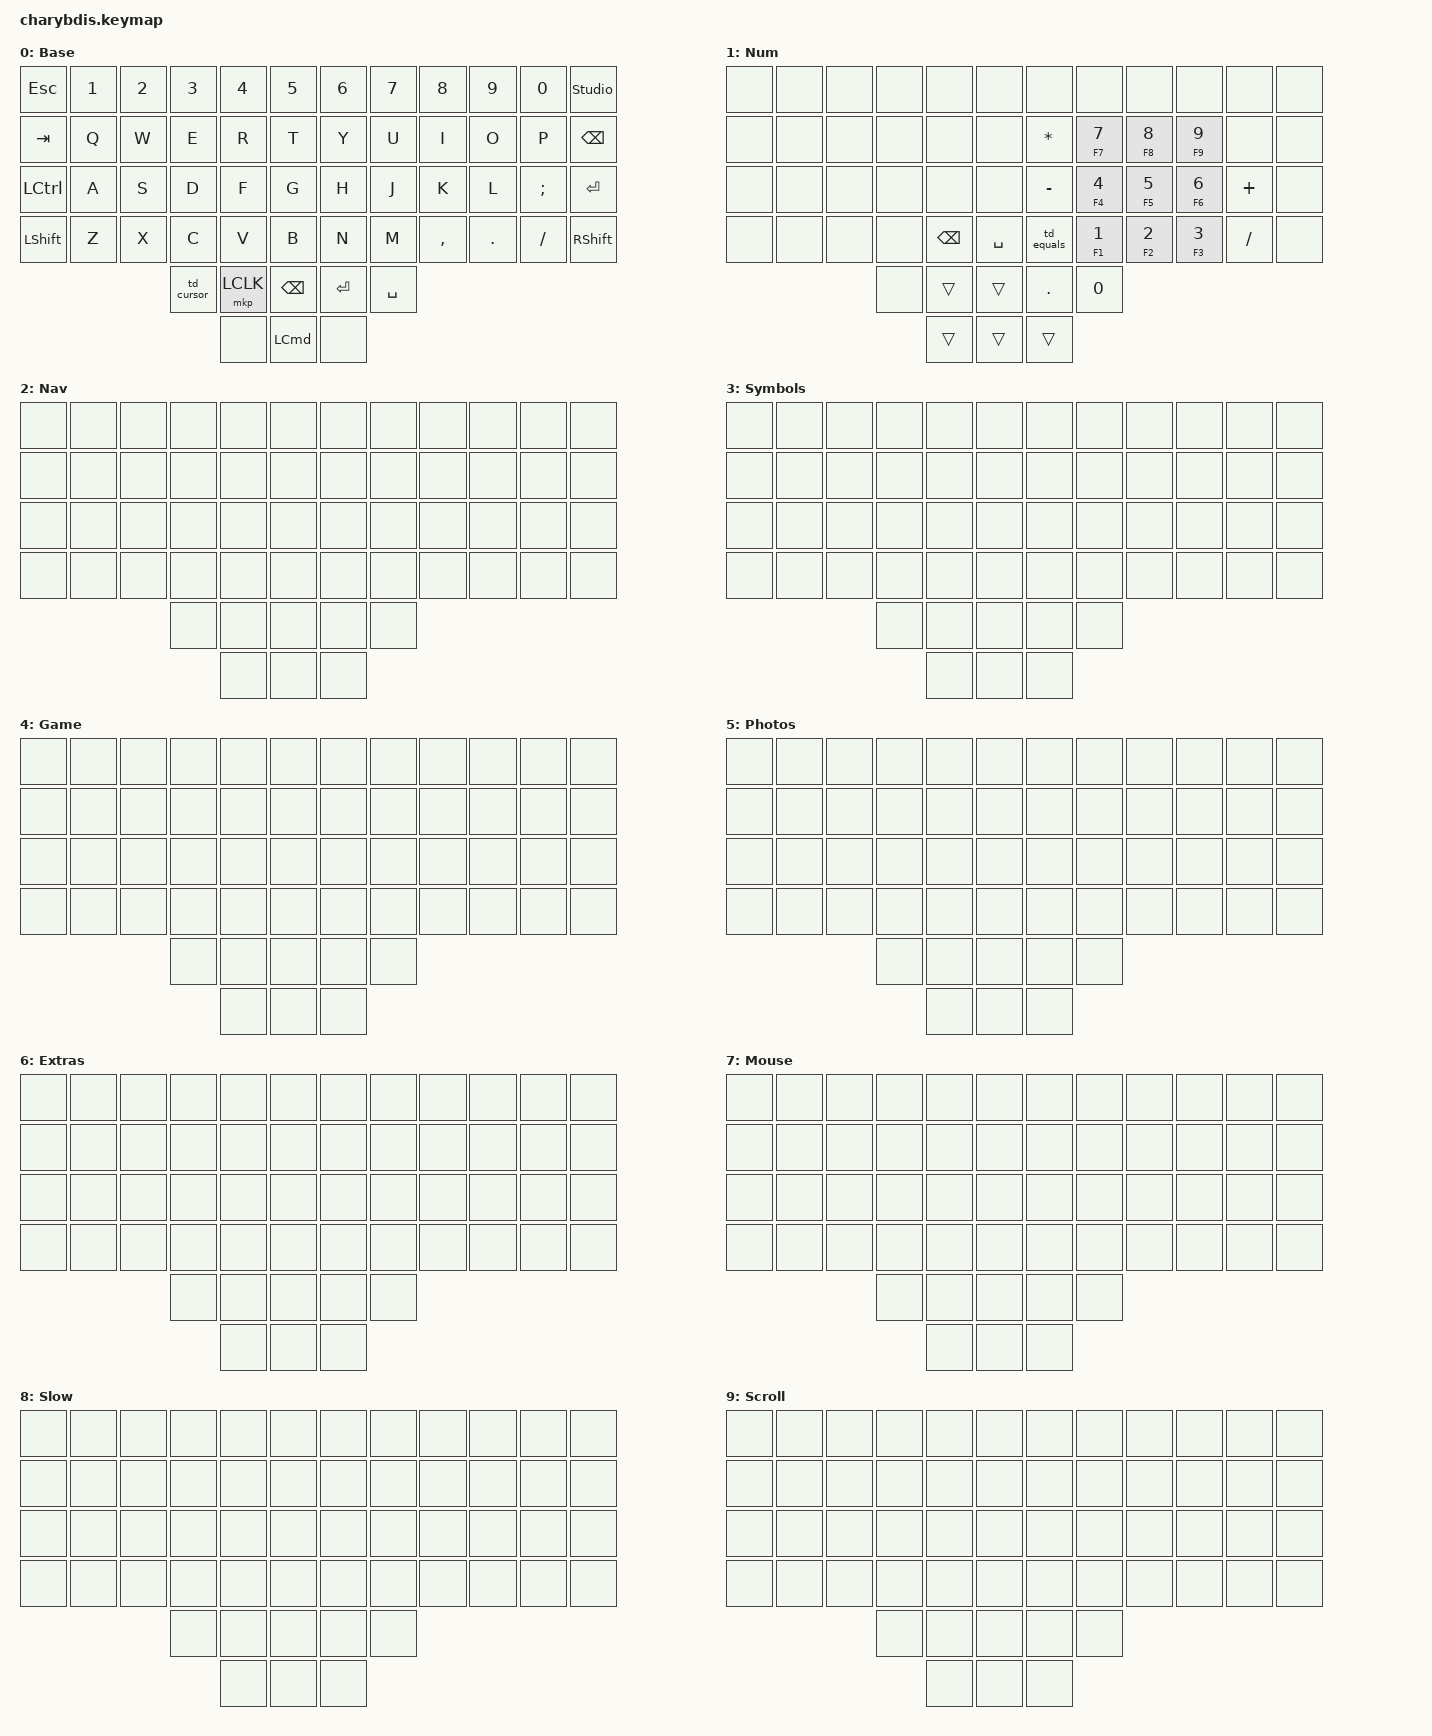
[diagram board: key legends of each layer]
#include <behaviors.dtsi>
#include <dt-bindings/zmk/bt.h>
#include <dt-bindings/zmk/keys.h>
#include <dt-bindings/zmk/mouse.h>
#include <dt-bindings/zmk/outputs.h>
#include <behaviors/mouse_keys.dtsi>
#include <dt-bindings/zmk/ext_power.h>
#include "macros.dtsi"
#include "behaviors.dtsi"
#include "combos.dtsi"

/ {
    /* input config for mouse move mode */
    trackball_listener {
        compatible = "zmk,input-behavior-listener";
        device = <&vtrackball>;
        layers = <0 2 7>;
        evt-type = <INPUT_EV_REL>;
        x-input-code = <INPUT_REL_X>;
        y-input-code = <INPUT_REL_Y>;
        scale-multiplier = <4>;
        scale-divisor = <5>;
        // bindings = <&ib_toggle_layer 7>;
    };

    /* input config for snipe mode */
    trackball_snipe_listener {
        compatible = "zmk,input-behavior-listener";   
        device = <&vtrackball>;
        layers = <8>;
        evt-type = <INPUT_EV_REL>;
        x-input-code = <INPUT_REL_X>;
        y-input-code = <INPUT_REL_Y>;
        scale-multiplier = <1>;
        scale-divisor = <6>;
    };

    /* input config for mouse scroll mode */
    trackball_scroll_listener {
        compatible = "zmk,input-behavior-listener";
        device = <&vtrackball>;
        layers = <9>;
        evt-type = <INPUT_EV_REL>;            
        x-input-code = <INPUT_REL_MISC>;
        y-input-code = <INPUT_REL_WHEEL>;
        y-invert;
        bindings = <&ib_wheel_scaler 1 14>;
    };

    /* define a resolution down scaler only for INPUT_REL_WHEEL */
    ib_wheel_scaler: ib_wheel_scaler {
        compatible = "zmk,input-behavior-scaler";
        #binding-cells = <2>;
        evt-type = <INPUT_EV_REL>;
        input-code = <INPUT_REL_WHEEL>;
    };

    /* adjust cooldown waiting period for mouse key layer after activated */
    ib_toggle_layer: ib_toggle_layer {
        compatible = "zmk,input-behavior-tog-layer";
        #binding-cells = <1>;
        time-to-live-ms = <750>;
    };
// +----+----+----+----+----+----+   +----+----+----+----+----+----+
//   00   01   02   03   04   05       11   10   09   08   07   06
// +----+----+----+----+----+----+   +----+----+----+----+----+----+
//   12   13   14   15   16   17       23   22   21   20   19   18
// +----+----+----+----+----+----+   +----+----+----+----+----+----+
//   24   25   26   27   28   29       35   34   33   32   31   30
// +----+----+----+----+----+----+   +----+----+----+----+----+----+
//   36   37   38   39   40   41       47   46   45   44   43   42
// +----+----+----+----+----+----+   +----+----+----+----+----+----+
//                  48   49   50       52   51
//                +----+----+----+   +----+----+
//                       53   54       55
//                     +----+----+   +----+
// #define BASE    0
// #define NUM     1
// #define NAV     2
// #define SYM     3
// #define GAME    4
// #define PHOTOS  5
// #define EXTRAS  6
// #define MOUSE   7
// #define SLOW    8
// #define SCROLL  9

    keymap {
        compatible = "zmk,keymap";
        BASE {
            display-name = "Base";
            bindings = <
               &kp ESC    &kp N1     &kp N2     &kp N3     &kp N4     &kp N5         &kp N6     &kp N7     &kp N8     &kp N9     &kp N0     &studio_unlock
               &kp TAB    &kp Q      &kp W      &kp E      &kp R      &kp T          &kp Y      &kp U      &kp I      &kp O      &kp P      &kp BSPC
               &kp LCTRL  &kp A      &kp S      &kp D      &kp F      &kp G          &kp H      &kp J      &kp K      &kp L      &kp SEMI   &kp RETURN
               &kp LSHIFT &kp Z      &kp X      &kp C      &kp V      &kp B          &kp N      &kp M      &kp COMMA  &kp PERIOD &kp SLASH  &kp RSHIFT
                                                &td_cursor &mkp LCLK  &kp BSPC       &kp RETURN &kp SPACE
                                                           &none      &kp LCMD       &none
            >;
        };

        NUM {
            display-name = "Num";
            bindings = <
               &none      &none      &none      &none      &none      &none          &none      &none      &none      &none      &none      &none
               &none      &none      &none      &none      &none      &none          &kp ASTRK  &hm F7 N7  &hm F8 N8  &hm F9 N9  &none      &none
               &none      &none      &none      &none      &none      &none          &kp MINUS  &hm F4 N4  &hm F5 N5  &hm F6 N6  &kp PLUS   &none
               &none      &none      &none      &none      &kp BSPC   &kp SPACE      &td_equals &hm F1 N1  &hm F2 N2  &hm F3 N3  &kp SLASH  &none
                                                &none      &trans     &trans         &kp DOT      &kp N0
                                                           &trans     &trans         &trans
            >;
        };

        NAV {
            display-name = "Nav";
            bindings = <
               &none      &none      &none      &none      &none      &none          &none      &none      &none      &none      &none      &none
               &none      &none      &none      &none      &none      &none          &none      &none      &none      &none      &none      &none
               &none      &none      &none      &none      &none      &none          &none      &none      &none      &none      &none      &none
               &none      &none      &none      &none      &none      &none          &none      &none      &none      &none      &none      &none
                                                &none      &none      &none          &none      &none
                                                           &none      &none          &none
            >;
        };

        SYM {
            display-name = "Symbols";
            bindings = <
               &none      &none      &none      &none      &none      &none          &none      &none      &none      &none      &none      &none
               &none      &none      &none      &none      &none      &none          &none      &none      &none      &none      &none      &none
               &none      &none      &none      &none      &none      &none          &none      &none      &none      &none      &none      &none
               &none      &none      &none      &none      &none      &none          &none      &none      &none      &none      &none      &none
                                                &none      &none      &none          &none      &none
                                                           &none      &none          &none
            >;
        };

        GAME {
            display-name = "Game";
            bindings = <
               &none      &none      &none      &none      &none      &none          &none      &none      &none      &none      &none      &none
               &none      &none      &none      &none      &none      &none          &none      &none      &none      &none      &none      &none
               &none      &none      &none      &none      &none      &none          &none      &none      &none      &none      &none      &none
               &none      &none      &none      &none      &none      &none          &none      &none      &none      &none      &none      &none
                                                &none      &none      &none          &none      &none
                                                           &none      &none          &none
            >;
        };

        PHOTOS {
            display-name = "Photos";
            bindings = <
               &none      &none      &none      &none      &none      &none          &none      &none      &none      &none      &none      &none
               &none      &none      &none      &none      &none      &none          &none      &none      &none      &none      &none      &none
               &none      &none      &none      &none      &none      &none          &none      &none      &none      &none      &none      &none
               &none      &none      &none      &none      &none      &none          &none      &none      &none      &none      &none      &none
                                                &none      &none      &none          &none      &none
                                                           &none      &none          &none
            >;
        };

        EXTRAS {
            display-name = "Extras";
            bindings = <
               &none      &none      &none      &none      &none      &none          &none      &none      &none      &none      &none      &none
               &none      &none      &none      &none      &none      &none          &none      &none      &none      &none      &none      &none
               &none      &none      &none      &none      &none      &none          &none      &none      &none      &none      &none      &none
               &none      &none      &none      &none      &none      &none          &none      &none      &none      &none      &none      &none
                                                &none      &none      &none          &none      &none
                                                           &none      &none          &none
            >;
        };

        MOUSE {
            display-name = "Mouse";
            bindings = <
               &none      &none      &none      &none      &none      &none          &none      &none      &none      &none      &none      &none
               &none      &none      &none      &none      &none      &none          &none      &none      &none      &none      &none      &none
               &none      &none      &none      &none      &none      &none          &none      &none      &none      &none      &none      &none
               &none      &none      &none      &none      &none      &none          &none      &none      &none      &none      &none      &none
                                                &none      &none      &none          &none      &none
                                                           &none      &none          &none
            >;
        };

        SLOW {
            display-name = "Slow";
            bindings = <
               &none      &none      &none      &none      &none      &none          &none      &none      &none      &none      &none      &none
               &none      &none      &none      &none      &none      &none          &none      &none      &none      &none      &none      &none
               &none      &none      &none      &none      &none      &none          &none      &none      &none      &none      &none      &none
               &none      &none      &none      &none      &none      &none          &none      &none      &none      &none      &none      &none
                                                &none      &none      &none          &none      &none
                                                           &none      &none          &none
            >;
        };

        SCROLL {
            display-name = "Scroll";
            bindings = <
               &none      &none      &none      &none      &none      &none          &none      &none      &none      &none      &none      &none
               &none      &none      &none      &none      &none      &none          &none      &none      &none      &none      &none      &none
               &none      &none      &none      &none      &none      &none          &none      &none      &none      &none      &none      &none
               &none      &none      &none      &none      &none      &none          &none      &none      &none      &none      &none      &none
                                                &none      &none      &none          &none      &none
                                                           &none      &none          &none
            >;
        };
    };
};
